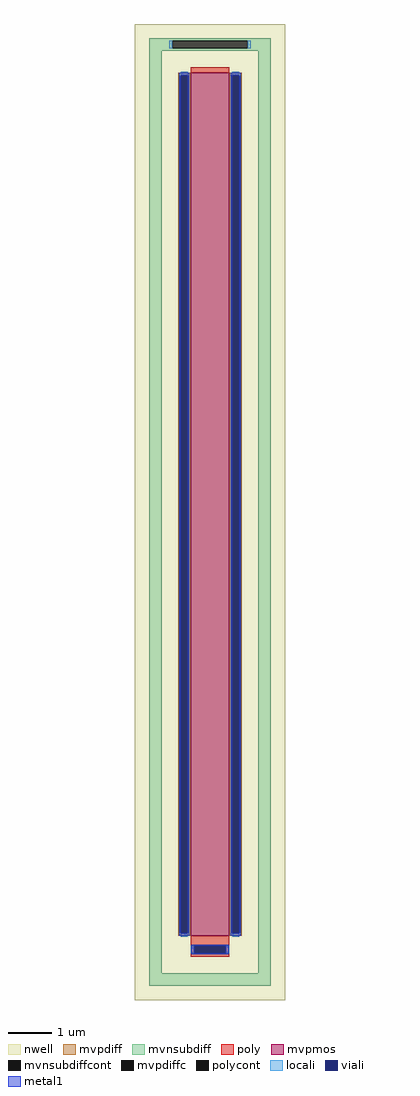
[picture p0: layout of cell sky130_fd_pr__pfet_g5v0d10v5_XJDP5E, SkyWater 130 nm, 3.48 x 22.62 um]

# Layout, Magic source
magic
tech sky130A
magscale 1 2
<< nwell >>
rect -348 -2262 348 2262
<< mvpmos >>
rect -90 -1964 90 2036
<< mvpdiff >>
rect -148 2024 -90 2036
rect -148 -1952 -136 2024
rect -102 -1952 -90 2024
rect -148 -1964 -90 -1952
rect 90 2024 148 2036
rect 90 -1952 102 2024
rect 136 -1952 148 2024
rect 90 -1964 148 -1952
<< mvpdiffc >>
rect -136 -1952 -102 2024
rect 102 -1952 136 2024
<< mvnsubdiff >>
rect -282 2184 282 2196
rect -282 2150 -174 2184
rect 174 2150 282 2184
rect -282 2138 282 2150
rect -282 -2138 -224 2138
rect 224 -2138 282 2138
rect -282 -2196 282 -2138
<< mvnsubdiffcont >>
rect -174 2150 174 2184
<< poly >>
rect -90 2036 90 2062
rect -90 -2011 90 -1964
rect -90 -2045 -74 -2011
rect 74 -2045 90 -2011
rect -90 -2061 90 -2045
<< polycont >>
rect -74 -2045 74 -2011
<< locali >>
rect -190 2150 -174 2184
rect 174 2150 190 2184
rect -136 2024 -102 2040
rect -136 -1968 -102 -1952
rect 102 2024 136 2040
rect 102 -1968 136 -1952
rect -90 -2045 -74 -2011
rect 74 -2045 90 -2011
<< viali >>
rect -136 -1952 -102 2024
rect 102 -1952 136 2024
rect -74 -2045 74 -2011
<< metal1 >>
rect -142 2024 -96 2036
rect -142 -1952 -136 2024
rect -102 -1952 -96 2024
rect -142 -1964 -96 -1952
rect 96 2024 142 2036
rect 96 -1952 102 2024
rect 136 -1952 142 2024
rect 96 -1964 142 -1952
rect -86 -2011 86 -2005
rect -86 -2045 -74 -2011
rect 74 -2045 86 -2011
rect -86 -2051 86 -2045
<< properties >>
string FIXED_BBOX -253 -2167 253 2167
string gencell sky130_fd_pr__pfet_g5v0d10v5
string library sky130
string parameters w 20.0 l 0.9 m 1 nf 1 diffcov 100 polycov 100 guard 1 glc 0 grc 0 gtc 1 gbc 0 tbcov 100 rlcov 100 topc 0 botc 1 poverlap 0 doverlap 1 lmin 0.50 wmin 0.42 class mosfet compatible {sky130_fd_pr__pfet_01v8  sky130_fd_pr__pfet_01v8_lvt sky130_fd_pr__pfet_01v8_hvt  sky130_fd_pr__pfet_g5v0d10v5} full_metal 0 viasrc 100 viadrn 100 viagate 100 viagb 0 viagr 0 viagl 0 viagt 0
<< end >>
